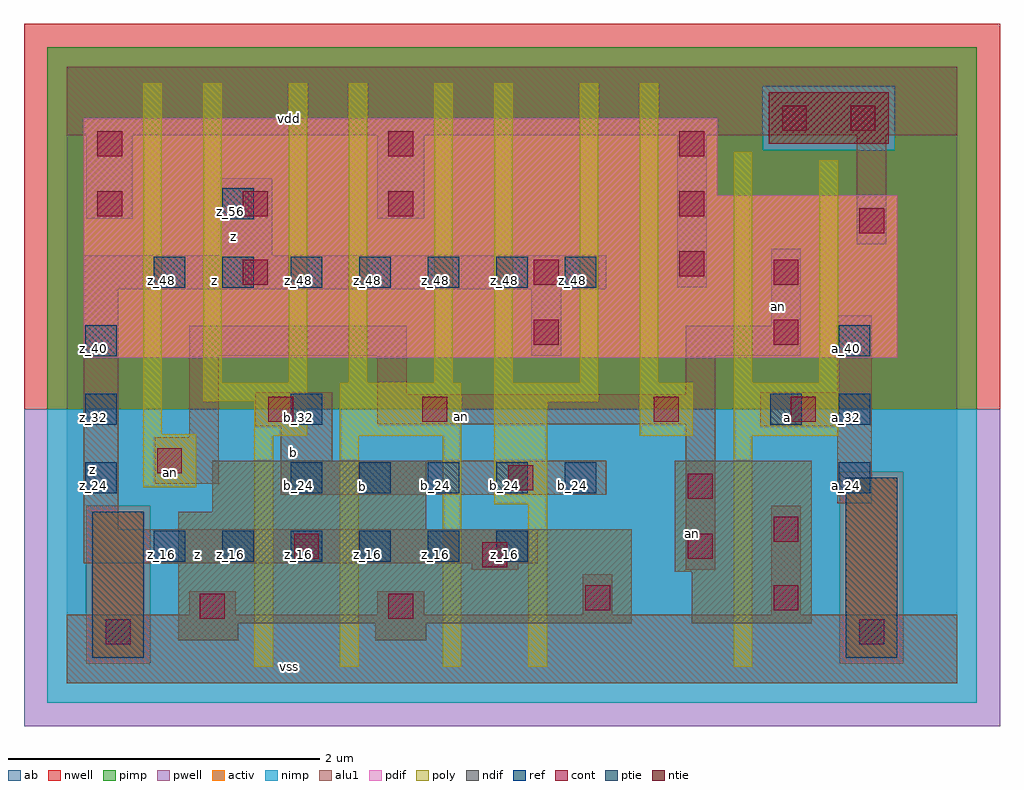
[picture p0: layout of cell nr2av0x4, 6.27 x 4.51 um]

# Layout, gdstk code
import gdstk
lib = gdstk.Library(unit=1e-6, precision=2.5e-09)
def R(c, l, rs):  # rectangles x0, y0, x1, y1
    for r in rs: c.add(gdstk.rectangle(r[:2], r[2:], *l))
def A(c, l, x, y, w, h, nx, ny, dx, dy):  # array of equal rectangles
    R(c, l, [(x+i*dx, y+j*dy, x+i*dx+w, y+j*dy+h) for i in range(nx) for j in range(ny)])
ndif = (3, 0)
pdif = (4, 0)
ntie = (5, 0)
ptie = (6, 0)
ref = (24, 0)
cont = (25, 0)
pwell = (41, 0)
nwell = (42, 0)
activ = (43, 0)
pimp = (44, 0)
nimp = (45, 0)
poly = (46, 0)
alu1 = (49, 0)
ab = (63, 0)

nr2av0x4 = lib.new_cell('nr2av0x4')
R(nr2av0x4, ndif, [(0.715,0.275,1.1,0.385), (1.98,0.275,2.31,0.385), (0.715,0.385,3.63,0.99), (4.015,0.385,4.785,0.715), (3.905,0.715,4.785,1.43), (0.715,0.99,2.31,1.1), (0.935,1.1,2.31,1.43)])
R(nr2av0x4, pdif, [(0.11,2.09,5.335,3.135), (0.11,3.135,4.18,3.63)])
R(nr2av0x4, ntie, [(4.51,3.465,5.28,3.795)])
R(nr2av0x4, ptie, [(0.165,0.165,0.495,1.1), (5.005,0.165,5.335,1.32)])
A(nr2av0x4, ref, 0.56, 0.78, 0.2, 0.2, 6, 1, 0.44, 0)
A(nr2av0x4, ref, 0.12, 1.22, 0.2, 0.2, 1, 3, 0, 0.44)
A(nr2av0x4, ref, 1.44, 1.22, 0.2, 0.2, 5, 1, 0.44, 0)
A(nr2av0x4, ref, 4.96, 1.22, 0.2, 0.2, 1, 3, 0, 0.44)
A(nr2av0x4, ref, 0.56, 2.54, 0.2, 0.2, 7, 1, 0.44, 0)
R(nr2av0x4, ref, [(1.44,1.66,1.64,1.86), (4.52,1.66,4.72,1.86), (1,2.98,1.2,3.18)])
A(nr2av0x4, cont, 0.195, 3, 0.16, 0.16, 3, 1, 0.935, 0)
A(nr2av0x4, cont, 0.195, 3.385, 0.16, 0.16, 3, 1, 1.87, 0)
R(nr2av0x4, cont, [(0.25,0.25,0.41,0.41), (5.09,0.25,5.25,0.41), (0.855,0.415,1.015,0.575), (2.065,0.415,2.225,0.575), (3.33,0.47,3.49,0.63), (4.54,0.47,4.7,0.63), (2.67,0.745,2.83,0.905), (1.46,0.8,1.62,0.96), (3.99,0.8,4.15,0.96), (4.54,0.91,4.7,1.07), (3.99,1.185,4.15,1.345), (2.835,1.24,2.995,1.4), (0.58,1.35,0.74,1.51), (1.295,1.68,1.455,1.84), (2.285,1.68,2.445,1.84), (3.77,1.68,3.93,1.84), (4.65,1.68,4.81,1.84), (3,2.175,3.16,2.335), (4.54,2.175,4.7,2.335), (1.13,2.56,1.29,2.72), (3,2.56,3.16,2.72), (4.54,2.56,4.7,2.72), (3.935,2.615,4.095,2.775), (5.09,2.89,5.25,3.05), (3.935,3,4.095,3.16), (4.595,3.55,4.755,3.71), (5.035,3.55,5.195,3.71)])
R(nr2av0x4, pwell, [(-0.275,-0.275,5.995,1.76)])
R(nr2av0x4, nwell, [(-0.275,1.76,5.995,4.235)])
R(nr2av0x4, activ, [(0.165,0.165,0.495,1.1), (5.005,0.165,5.335,1.32), (0.715,0.275,1.1,0.385), (1.98,0.275,2.31,0.385), (0.715,0.385,3.63,0.99), (4.015,0.385,4.785,0.715), (3.905,0.715,4.785,1.43), (0.715,0.99,2.31,1.1), (0.935,1.1,2.31,1.43), (0.11,2.09,5.335,3.135), (0.11,3.135,4.18,3.63), (4.51,3.465,5.28,3.795)])
R(nr2av0x4, pimp, [(0.125,0.125,0.535,1.14), (4.965,0.125,5.375,1.36), (-0.125,1.76,5.845,3.425), (-0.125,3.425,4.47,3.835), (5.32,3.425,5.845,3.835), (-0.125,3.835,5.845,4.085)])
R(nr2av0x4, nimp, [(-0.125,-0.125,5.845,0.125), (-0.125,0.125,0.125,1.14), (0.535,0.125,4.965,1.14), (5.375,0.125,5.845,1.36), (-0.125,1.14,4.965,1.36), (-0.125,1.36,5.845,1.76), (4.47,3.425,5.32,3.835)])
R(nr2av0x4, poly, [(1.205,0.105,1.325,1.59), (1.755,0.105,1.875,1.59), (2.415,0.105,2.535,1.59), (2.965,0.105,3.085,1.15), (4.285,0.105,4.405,1.59), (2.745,1.15,3.085,1.81), (0.49,1.26,0.83,1.6), (1.205,1.59,1.545,1.81), (1.755,1.59,2.535,1.93), (3.68,1.59,4.02,1.93), (4.285,1.59,4.955,1.93), (0.49,1.6,0.61,3.855), (0.875,1.81,1.545,1.93), (2.745,1.81,3.415,1.93), (0.875,1.93,0.995,3.855), (1.425,1.93,1.545,3.855), (1.81,1.93,1.93,3.855), (2.36,1.93,2.48,3.855), (2.745,1.93,2.865,3.855), (3.295,1.93,3.415,3.855), (3.68,1.93,3.8,3.855), (4.285,1.93,4.405,3.415), (4.835,1.93,4.955,3.36)])
R(nr2av0x4, alu1, [(0,0,5.72,0.44), (0.785,0.44,1.085,0.59), (1.995,0.44,2.295,0.59), (3.315,0.44,3.505,0.7), (4.525,0.44,4.715,1.14), (2.6,0.73,2.9,0.77), (3.975,0.73,4.165,1.665), (0.11,0.77,3.025,0.99), (0.11,0.99,0.33,2.53), (4.95,1.155,5.17,1.65), (1.375,1.21,3.465,1.43), (0.565,1.28,0.975,1.58), (1.375,1.43,1.705,1.65), (0.785,1.58,0.975,2.105), (1.21,1.65,1.705,1.87), (4.455,1.65,5.17,1.87), (1.995,1.665,4.165,1.855), (1.995,1.855,2.185,2.105), (3.975,1.855,4.165,2.105), (4.95,1.87,5.17,2.365), (0.785,2.105,2.185,2.295), (2.985,2.105,3.175,2.53), (3.975,2.105,4.715,2.295), (4.525,2.295,4.715,2.79), (0.11,2.53,3.465,2.75), (3.92,2.545,4.11,3.52), (0.99,2.75,1.32,3.245), (5.075,2.82,5.265,3.52), (0.125,2.985,0.425,3.52), (1.995,2.985,2.295,3.52), (0,3.52,5.72,3.96)])
R(nr2av0x4, ab, [(0,0,5.72,3.96)])
nr2av0x4.add(gdstk.Label('vss', (1.43,0.11), layer=49, texttype=0))
nr2av0x4.add(gdstk.Label('a', (4.6325,1.705), layer=49, texttype=0))
nr2av0x4.add(gdstk.Label('an', (4.0225,0.9625), layer=49, texttype=0))
nr2av0x4.add(gdstk.Label('z', (0.8375,0.825), layer=49, texttype=0))
nr2av0x4.add(gdstk.Label('b', (1.8975,1.265), layer=49, texttype=0))
nr2av0x4.add(gdstk.Label('b', (1.4575,1.485), layer=49, texttype=0))
nr2av0x4.add(gdstk.Label('an', (0.6675,1.355), layer=49, texttype=0))
nr2av0x4.add(gdstk.Label('an', (2.5375,1.7125), layer=49, texttype=0))
nr2av0x4.add(gdstk.Label('an', (4.5725,2.4175), layer=49, texttype=0))
nr2av0x4.add(gdstk.Label('z', (0.165,1.375), layer=49, texttype=0))
nr2av0x4.add(gdstk.Label('z', (0.9475,2.585), layer=49, texttype=0))
nr2av0x4.add(gdstk.Label('z', (1.0725,2.8725), layer=49, texttype=0))
nr2av0x4.add(gdstk.Label('vdd', (1.43,3.63), layer=49, texttype=0))
nr2av0x4.add(gdstk.Label('z_16', (0.61,0.83), layer=24, texttype=0))
nr2av0x4.add(gdstk.Label('z_48', (0.61,2.59), layer=24, texttype=0))
nr2av0x4.add(gdstk.Label('z_16', (1.05,0.83), layer=24, texttype=0))
nr2av0x4.add(gdstk.Label('z_48', (1.05,2.59), layer=24, texttype=0))
nr2av0x4.add(gdstk.Label('z_56', (1.05,3.03), layer=24, texttype=0))
nr2av0x4.add(gdstk.Label('z_16', (1.49,0.83), layer=24, texttype=0))
nr2av0x4.add(gdstk.Label('b_24', (1.49,1.27), layer=24, texttype=0))
nr2av0x4.add(gdstk.Label('b_32', (1.49,1.71), layer=24, texttype=0))
nr2av0x4.add(gdstk.Label('z_48', (1.49,2.59), layer=24, texttype=0))
nr2av0x4.add(gdstk.Label('z_16', (1.93,0.83), layer=24, texttype=0))
nr2av0x4.add(gdstk.Label('b_24', (1.93,1.27), layer=24, texttype=0))
nr2av0x4.add(gdstk.Label('z_48', (1.93,2.59), layer=24, texttype=0))
nr2av0x4.add(gdstk.Label('z_24', (0.17,1.27), layer=24, texttype=0))
nr2av0x4.add(gdstk.Label('z_32', (0.17,1.71), layer=24, texttype=0))
nr2av0x4.add(gdstk.Label('z_40', (0.17,2.15), layer=24, texttype=0))
nr2av0x4.add(gdstk.Label('z_16', (2.37,0.83), layer=24, texttype=0))
nr2av0x4.add(gdstk.Label('b_24', (2.37,1.27), layer=24, texttype=0))
nr2av0x4.add(gdstk.Label('z_48', (2.37,2.59), layer=24, texttype=0))
nr2av0x4.add(gdstk.Label('z_16', (2.81,0.83), layer=24, texttype=0))
nr2av0x4.add(gdstk.Label('b_24', (2.81,1.27), layer=24, texttype=0))
nr2av0x4.add(gdstk.Label('z_48', (2.81,2.59), layer=24, texttype=0))
nr2av0x4.add(gdstk.Label('b_24', (3.25,1.27), layer=24, texttype=0))
nr2av0x4.add(gdstk.Label('z_48', (3.25,2.59), layer=24, texttype=0))
nr2av0x4.add(gdstk.Label('a_32', (4.57,1.71), layer=24, texttype=0))
nr2av0x4.add(gdstk.Label('a_24', (5.01,1.27), layer=24, texttype=0))
nr2av0x4.add(gdstk.Label('a_32', (5.01,1.71), layer=24, texttype=0))
nr2av0x4.add(gdstk.Label('a_40', (5.01,2.15), layer=24, texttype=0))

lib.write_gds('nr2av0x4.gds')
